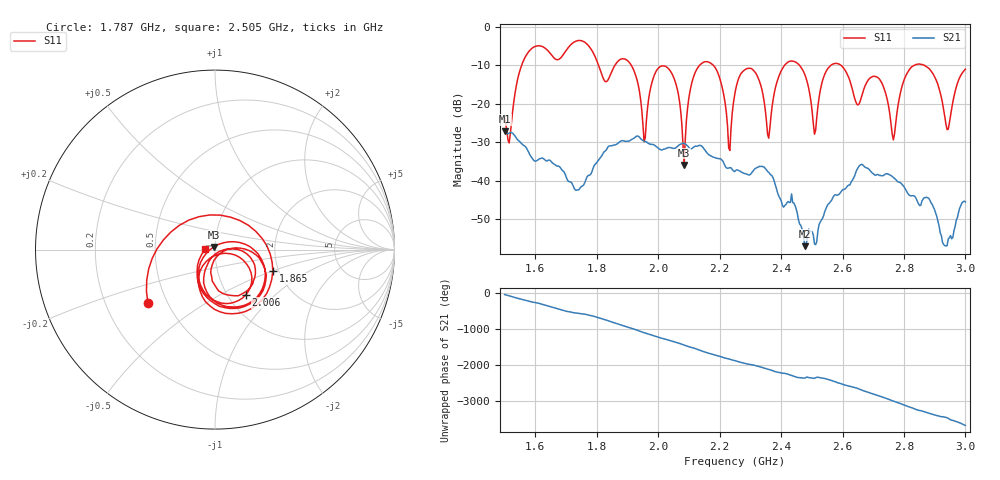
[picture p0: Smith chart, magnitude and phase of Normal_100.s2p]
# HZ S RI R 50
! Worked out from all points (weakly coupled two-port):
!   404 points, 1.5 GHz to 3 GHz, reference 50 ohm
!   highest |S21| = -27.16 dB at 1.5 GHz (marker M1); lowest = -57.0 dB at 2.479 GHz (marker M2)
!   lowest |S11| = -35.9 dB at 2.084 GHz (marker M3), VSWR 1.03, Z = 49.2 + j1.4 ohm
!   |S11| at or under -10 dB: 1.913 GHz to 2.134 GHz (221.7 MHz wide, 11 % of centre); 2.18 GHz to 2.411 GHz (231.1 MHz wide, 10.1 % of centre); 2.596 GHz to 2.832 GHz (236.7 MHz wide, 8.72 % of centre) (the widest 3 of 7)
!   S12 and S22 are empty: the file has one direction only
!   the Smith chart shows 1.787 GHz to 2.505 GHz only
!   S11 on the Smith chart (normalised r, x): 1.787 GHz: 0.39, -0.30; 1.865 GHz: 1.86, -0.50; 2.006 GHz: 1.21, -0.67; 2.505 GHz: 0.90, +0.00
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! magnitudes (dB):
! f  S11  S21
! 1.5 GHz  -23.6  -27.2
! 1.586 GHz  -5.8  -33.7
! 1.753 GHz  -3.6  -41.3
! 1.787 GHz  -6.4  -37.1
! 1.865 GHz  -9.3  -30.5
! 1.954 GHz  -29.9  -29.7
! 2.002 GHz  -10.5  -31.7
! 2.006 GHz  -10.3  -31.8
! 2.084 GHz  -35.9  -30.3
! 2.14 GHz  -9.5  -30.9
! 2.23 GHz  -31.5  -36.7
! 2.252 GHz  -16.3  -37.3
! 2.311 GHz  -11.4  -37.2
! 2.36 GHz  -28.9  -37.8
! 2.479 GHz  -12.7  -57.0
! 2.501 GHz  -22.0  -53.2
! 2.505 GHz  -25.2  -54.1
! 2.576 GHz  -9.5  -43.6
! 2.751 GHz  -20.9  -38.3
! 2.855 GHz  -9.7  -46.4
! 2.933 GHz  -23.3  -56.9
! 3 GHz  -11.0  -45.5
